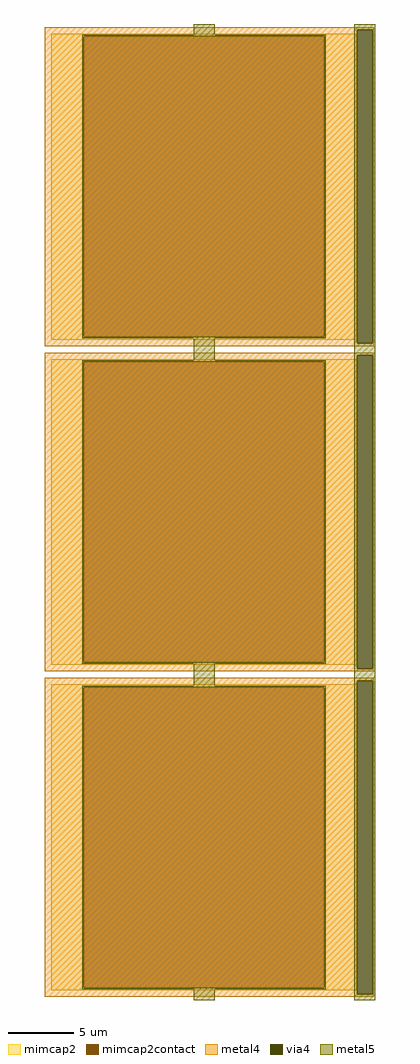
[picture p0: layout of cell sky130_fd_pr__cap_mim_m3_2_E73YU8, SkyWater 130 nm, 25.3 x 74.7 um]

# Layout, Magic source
magic
tech sky130A
magscale 1 2
<< metal4 >>
rect -2519 7379 2519 7420
rect -2519 2581 2263 7379
rect 2499 2581 2519 7379
rect -2519 2540 2519 2581
rect -2519 2399 2519 2440
rect -2519 -2399 2263 2399
rect 2499 -2399 2519 2399
rect -2519 -2440 2519 -2399
rect -2519 -2581 2519 -2540
rect -2519 -7379 2263 -2581
rect 2499 -7379 2519 -2581
rect -2519 -7420 2519 -7379
<< via4 >>
rect 2263 2581 2499 7379
rect 2263 -2399 2499 2399
rect 2263 -7379 2499 -2581
<< mimcap2 >>
rect -2419 7280 2261 7320
rect -2419 2680 -1919 7280
rect 1761 2680 2261 7280
rect -2419 2640 2261 2680
rect -2419 2300 2261 2340
rect -2419 -2300 -1919 2300
rect 1761 -2300 2261 2300
rect -2419 -2340 2261 -2300
rect -2419 -2680 2261 -2640
rect -2419 -7280 -1919 -2680
rect 1761 -7280 2261 -2680
rect -2419 -7320 2261 -7280
<< mimcap2contact >>
rect -1919 2680 1761 7280
rect -1919 -2300 1761 2300
rect -1919 -7280 1761 -2680
<< metal5 >>
rect -239 7304 81 7470
rect 2221 7379 2541 7470
rect -1943 7280 1785 7304
rect -1943 2680 -1919 7280
rect 1761 2680 1785 7280
rect -1943 2656 1785 2680
rect -239 2324 81 2656
rect 2221 2581 2263 7379
rect 2499 2581 2541 7379
rect 2221 2399 2541 2581
rect -1943 2300 1785 2324
rect -1943 -2300 -1919 2300
rect 1761 -2300 1785 2300
rect -1943 -2324 1785 -2300
rect -239 -2656 81 -2324
rect 2221 -2399 2263 2399
rect 2499 -2399 2541 2399
rect 2221 -2581 2541 -2399
rect -1943 -2680 1785 -2656
rect -1943 -7280 -1919 -2680
rect 1761 -7280 1785 -2680
rect -1943 -7304 1785 -7280
rect -239 -7470 81 -7304
rect 2221 -7379 2263 -2581
rect 2499 -7379 2541 -2581
rect 2221 -7470 2541 -7379
<< properties >>
string FIXED_BBOX -2519 2540 2361 7420
string gencell sky130_fd_pr__cap_mim_m3_2
string library sky130
string parameters w 23.4 l 23.4 val 1.112k carea 2.00 cperi 0.19 nx 1 ny 3 dummy 0 square 0 lmin 2.00 wmin 2.00 lmax 30.0 wmax 30.0 dc 0 bconnect 1 tconnect 1 ccov 80
<< end >>
